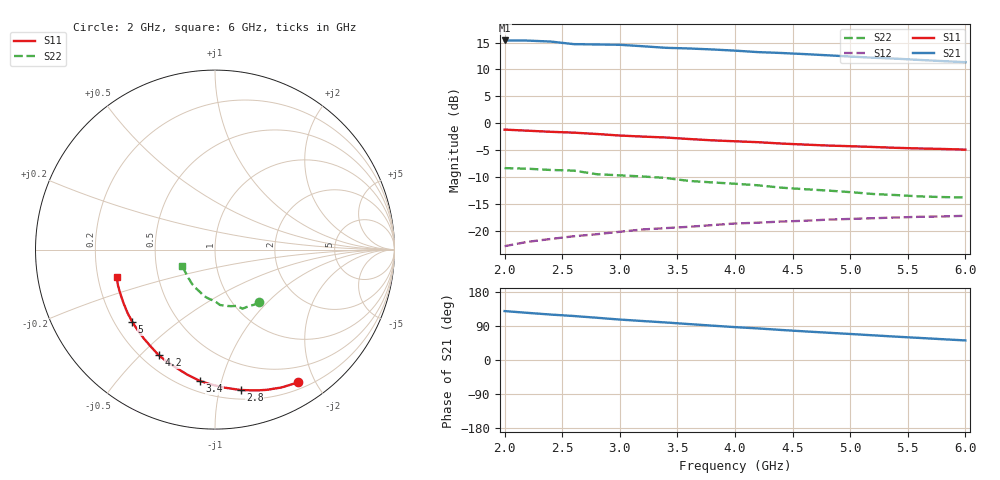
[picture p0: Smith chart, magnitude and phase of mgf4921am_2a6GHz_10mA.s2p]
!copiados por mi del data sheet para tener resolucion de 0.2 GHz
! MGF4921AM  (VDS=2V, lDS=10mA, Ta=room temperature)
! S-parameters f=2-6GHz
! Board:FR4, 0.8mmt.
! Jun. /2022
# GHz S MA R 50
!  f  S11  S21  S12  S22
! (GHz)  Magn.  Angle  Magn.  Angle  Magn.  Angle  Magn.  Angle
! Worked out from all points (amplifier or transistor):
!   21 points, 2 GHz to 6 GHz, reference 50 ohm
!   highest |S21| = 15.4 dB at 2 GHz (marker M1)
!   |S21| within 3 dB of that: start of sweep to 5.008 GHz
!   unconditionally stable (mu >= 1): nowhere
!   at 2.6 GHz: K = 0.39, MSG = 17.9 dB, |S12| = -21.0 dB
!   at 4 GHz: K = 0.57, MSG = 16.1 dB, |S12| = -18.6 dB
!   at 6 GHz: K = 0.78, MSG = 14.3 dB, |S12| = -17.2 dB
!   S11 on the Smith chart (normalised r, x): 2 GHz: 0.29, -1.77; 2.8 GHz: 0.27, -1.16; 3.4 GHz: 0.27, -0.86; 4.2 GHz: 0.27, -0.57; 5 GHz: 0.27, -0.35; 6 GHz: 0.28, -0.13
2  0.873 -57.9  5.887 129.1  0.072 54.7  0.383 -50.0
2.2  0.853 -64.2  5.87 124.4  0.079 51.9  0.378 -54.0
2.4  0.833 -69.7  5.75 119.9  0.084 48.8  0.368 -58.7
2.6  0.818 -73.6  5.442 116.1  0.089 45.1  0.363 -65.0
2.8  0.795 -79.7  5.401 111.5  0.093 43.0  0.336 -68.9
3  0.769 -86.7  5.366 106.7  0.098 40.3  0.328 -73.9
3.2  0.752 -91.6  5.201 102.8  0.103 37.5  0.32 -78.7
3.4  0.737 -96.5  5.029 99.0  0.106 34.4  0.31 -84.8
3.6  0.714 -102.4  4.959 94.8  0.109 32.4  0.291 -89.1
3.8  0.694 -107.8  4.856 90.7  0.113 30.2  0.282 -93.1
4  0.68 -113.1  4.733 86.8  0.117 27.7  0.274 -98.2
4.2  0.667 -118.0  4.587 83.3  0.119 25.1  0.265 -104.0
4.4  0.648 -123.5  4.503 79.3  0.122 23.2  0.252 -108.7
4.6  0.634 -128.9  4.399 75.6  0.124 21.2  0.244 -113.4
4.8  0.621 -134.2  4.287 72.1  0.127 19.0  0.237 -118.8
5  0.612 -138.9  4.172 68.7  0.129 16.9  0.229 -124.4
5.2  0.602 -143.9  4.068 65.1  0.131 15.0  0.22 -130.1
5.4  0.591 -149.4  3.986 61.6  0.133 13.0  0.215 -135.6
5.6  0.583 -154.2  3.88 58.3  0.135 11.1  0.209 -140.4
5.8  0.577 -159.2  3.785 54.9  0.136 9.1  0.206 -147.0
6  0.569 -164.4  3.697 51.6  0.138 7.3  0.204 -152.6
